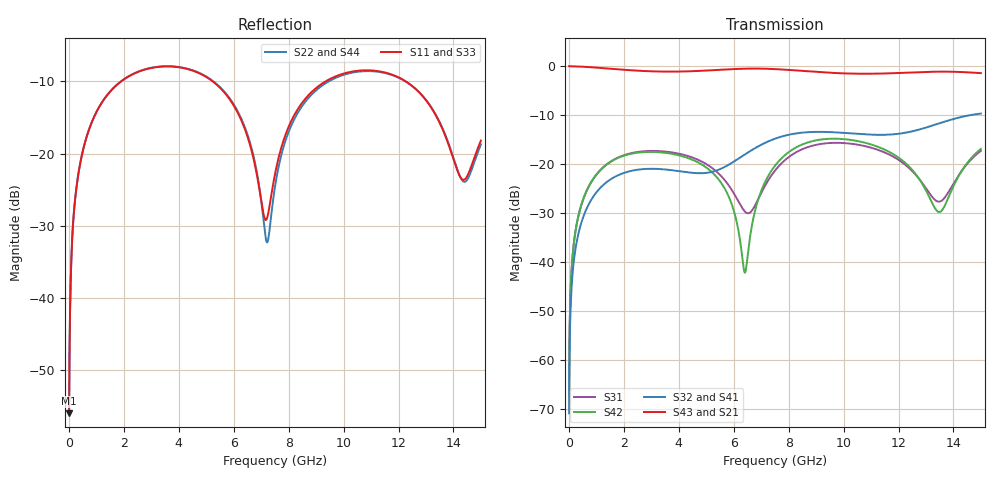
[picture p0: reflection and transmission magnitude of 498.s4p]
! Created with skrf 1.8.0 (http://scikit-rf.org).
# GHz S RI R 50.0
!freq ReS11 ImS11 ReS12 ImS12 ReS13 ImS13
! ReS14 ImS14
! ReS21 ImS21 ReS22 ImS22 ReS23 ImS23
! ReS24 ImS24
! ReS31 ImS31 ReS32 ImS32 ReS33 ImS33
! ReS34 ImS34
! ReS41 ImS41 ReS42 ImS42 ReS43 ImS43
! ReS44 ImS44
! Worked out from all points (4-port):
!   2499 points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, 5 MHz to 15 GHz, reference 50 ohm
!   strongest paths, dB at 5 MHz, 3.476 GHz, 7.19 GHz, 11.1 GHz, 15 GHz:
!     S43: 0.0, -1.1, -0.5, -1.5, -1.4
!     S21: 0.0, -1.1, -0.5, -1.5, -1.4
!     S32: -70.8, -21.1, -15.5, -14.0, -9.7
!     S41: -70.8, -21.0, -15.5, -14.0, -9.7
!     S42: -67.2, -17.7, -23.1, -16.2, -16.9
!     S31: -67.2, -17.4, -23.9, -16.8, -17.3
!   lowest |S11| = -56.0 dB at 5 MHz (marker M1), VSWR 1.00, Z = 50.1 + j0.0967 ohm
!   |S11| at or under -10 dB: start of sweep to 1.896 GHz; 5.237 GHz to 9.342 GHz (4.106 GHz wide, 56.3 % of centre); 12.27 GHz to end of sweep
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0.005  0.00126 0.000965  0.9987 -0.00245  5.99e-05 0.000434  -5.85e-05 -0.000281
       0.9987 -0.00245  0.00126 0.000965  -5.85e-05 -0.000281  5.98e-05 0.000434
       5.99e-05 0.000434  -5.85e-05 -0.000281  0.00126 0.000964  0.9987 -0.00245
       -5.85e-05 -0.000281  5.98e-05 0.000434  0.9987 -0.00245  0.00126 0.000964
0.4126719  0.0232 0.0832  0.9679 -0.2001  0.00994 0.0339  -0.00825 -0.0218
           0.9679 -0.2001  0.0233 0.0831  -0.00824 -0.0218  0.0096 0.034
           0.00994 0.0339  -0.00824 -0.0218  0.0232 0.0832  0.9679 -0.2001
           -0.00825 -0.0218  0.0096 0.034  0.9679 -0.2001  0.0233 0.0831
2.025844  0.272 0.1856  0.55 -0.7331  0.114 0.049  -0.0816 -0.00681
          0.55 -0.7331  0.2734 0.1845  -0.0815 -0.00689  0.1097 0.0548
          0.114 0.049  -0.0815 -0.00689  0.272 0.1856  0.55 -0.7331
          -0.0816 -0.00681  0.1097 0.0548  0.55 -0.7331  0.2734 0.1845
6.402668  0.0781 -0.1261  -0.8616 -0.3781  -0.0287 -0.0161  -0.0459 0.1168
          -0.8616 -0.3781  0.0711 -0.1351  -0.0469 0.1164  0.00773 0.00116
          -0.0287 -0.0161  -0.0469 0.1164  0.0773 -0.1259  -0.8618 -0.3779
          -0.0459 0.1168  0.00773 0.00116  -0.8618 -0.3779  0.0713 -0.1344
7.15298  0.0345 -0.00414  -0.9387 -0.0569  -0.0188 0.0582  -0.00534 0.1654
         -0.9387 -0.0569  0.0238 -0.0122  -0.00672 0.1654  0.023 0.0628
         -0.0188 0.0582  -0.00672 0.1654  0.0338 -0.00333  -0.9388 -0.0566
         -0.00534 0.1654  0.023 0.0628  -0.9388 -0.0566  0.0244 -0.0114
11.17966  0.371 -0.0502  0.043 0.8369  0.1182 -0.0789  0.1878 -0.0688
          0.043 0.8369  0.3681 -0.0422  0.188 -0.0659  0.1206 -0.0939
          0.1182 -0.0789  0.188 -0.0659  0.3723 -0.0505  0.0428 0.8366
          0.1878 -0.0688  0.1206 -0.0939  0.0428 0.8366  0.3687 -0.0418
15  0.0972 0.0755  0.8373 -0.1336  0.0573 0.1241  -0.0781 -0.3185
    0.8373 -0.1336  0.0916 0.0706  -0.0728 -0.3198  0.0754 0.1215
    0.0573 0.1241  -0.0728 -0.3198  0.0958 0.0778  0.8371 -0.1336
    -0.0781 -0.3185  0.0754 0.1215  0.8371 -0.1336  0.0936 0.0707
